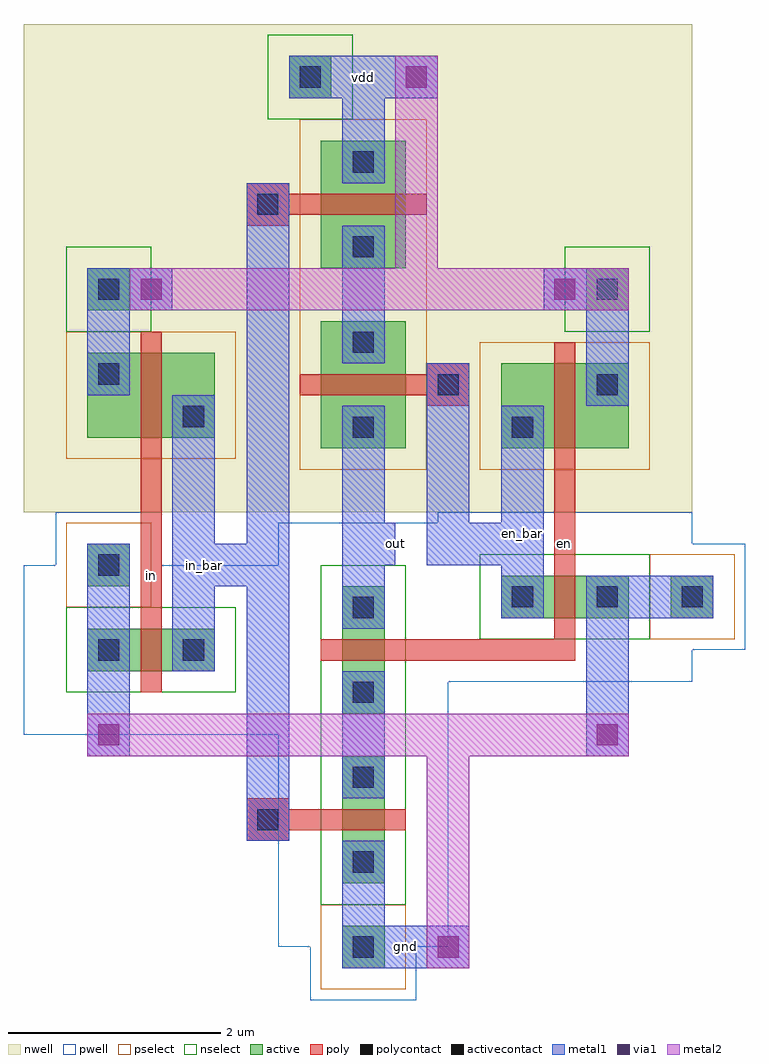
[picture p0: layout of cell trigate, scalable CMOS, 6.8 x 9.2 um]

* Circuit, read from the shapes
.subckt trigate en en_bar gnd in in_bar out vdd
M1 in_bar in gnd gnd nfet w=0.4u l=0.2u
M2 n1 in_bar gnd gnd nfet w=0.4u l=0.2u
M3 out en n1 gnd nfet w=0.4u l=0.2u
M4 gnd en en_bar gnd nfet w=0.4u l=0.2u
M5 in_bar in vdd vdd pfet w=0.8u l=0.2u
M6 n2 en_bar out vdd pfet w=0.8u l=0.2u
M7 vdd in_bar n2 vdd pfet w=0.8u l=0.2u
M8 vdd en en_bar vdd pfet w=0.8u l=0.2u
.ends

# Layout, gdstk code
import gdstk
lib = gdstk.Library(unit=1e-6, precision=1e-09)
def R(c, l, rs):  # rectangles x0, y0, x1, y1
    for r in rs: c.add(gdstk.rectangle(r[:2], r[2:], *l))
def A(c, l, x, y, w, h, nx, ny, dx, dy):  # array of equal rectangles
    R(c, l, [(x+i*dx, y+j*dy, x+i*dx+w, y+j*dy+h) for i in range(nx) for j in range(ny)])
pwell = (41, 0)
nwell = (42, 0)
active = (43, 0)
pselect = (44, 0)
nselect = (45, 0)
poly = (46, 0)
polycontact = (47, 0)
activecontact = (48, 0)
metal1 = (49, 0)
via1 = (50, 0)
metal2 = (51, 0)

trigate = lib.new_cell('trigate')
R(trigate, pwell, [(2.8,-7,3.8,-6.5), (2.5,-6.5,4.1,-4.5), (0.1,-4.5,4.1,-4), (0.1,-4,6.4,-3.7), (0.1,-3.7,6.9,-2.9), (0.4,-2.9,1.4,-2.4), (2.5,-2.9,6.9,-2.7), (2.5,-2.7,6.4,-2.5), (4,-2.5,6.4,-2.4)])
R(trigate, nwell, [(0.1,-2.4,6.4,2.2)])
R(trigate, active, [(3.1,-6.7,3.5,-6.3), (3.1,-5.9,3.5,-4.7), (3.1,-4.3,3.5,-3.1), (0.7,-3.9,1.9,-3.5), (4.6,-3.4,5.8,-3), (6.2,-3.4,6.6,-3), (0.7,-3.1,1.1,-2.7), (2.9,-1.8,3.7,-0.6), (4.6,-1.8,5.8,-1), (0.7,-1.7,1.9,-0.9), (0.7,-0.5,1.1,-0.1), (5.4,-0.5,5.8,-0.1), (2.9,-0.1,3.7,1.1), (2.6,1.5,3,1.9)])
R(trigate, pselect, [(2.9,-6.9,3.7,-6.1), (6,-3.6,6.8,-2.8), (0.5,-3.3,1.3,-2.5), (2.7,-2,3.9,1.3), (4.4,-2,6,-0.8), (0.5,-1.9,2.1,-0.7)])
R(trigate, nselect, [(2.9,-6.1,3.7,-2.9), (0.5,-4.1,2.1,-3.3), (4.4,-3.6,6,-2.8), (0.5,-0.7,1.3,0.1), (5.2,-0.7,6,0.1), (2.4,1.3,3.2,2.1)])
R(trigate, poly, [(2.2,-5.5,2.6,-5.4), (2.2,-5.4,3.7,-5.2), (2.2,-5.2,2.6,-5.1), (1.2,-4.1,1.4,-0.7), (2.9,-3.8,5.3,-3.6), (5.1,-3.6,5.3,-0.8), (3.9,-1.4,4.3,-1.3), (2.7,-1.3,4.3,-1.1), (3.9,-1.1,4.3,-1), (2.2,0.3,2.6,0.4), (2.2,0.4,3.9,0.6), (2.2,0.6,2.6,0.7)])
R(trigate, polycontact, [(2.3,-5.4,2.5,-5.2), (4,-1.3,4.2,-1.1), (2.3,0.4,2.5,0.6)])
A(trigate, activecontact, 3.2, -6.6, 0.2, 0.2, 1, 5, 0, 0.8)
A(trigate, activecontact, 4.7, -3.3, 0.2, 0.2, 3, 1, 0.8, 0)
R(trigate, activecontact, [(0.8,-3.8,1,-3.6), (1.6,-3.8,1.8,-3.6), (0.8,-3,1,-2.8), (3.2,-1.7,3.4,-1.5), (4.7,-1.7,4.9,-1.5), (1.6,-1.6,1.8,-1.4), (5.5,-1.3,5.7,-1.1), (0.8,-1.2,1,-1), (3.2,-0.9,3.4,-0.7), (0.8,-0.4,1,-0.2), (5.5,-0.4,5.7,-0.2), (3.2,0,3.4,0.2), (3.2,0.8,3.4,1), (2.7,1.6,2.9,1.8)])
R(trigate, metal1, [(3.1,-6.7,4.3,-6.3), (3.1,-6.3,3.5,-5.5), (2.2,-5.5,2.6,-3.1), (3.1,-5.1,3.5,-3.9), (0.7,-4.7,1.1,-2.7), (5.4,-4.7,5.8,-3.4), (1.5,-3.9,1.9,-3.1), (3.1,-3.5,3.5,-2.9), (4.6,-3.4,5,-2.9), (5.4,-3.4,6.6,-3), (1.5,-3.1,2.6,-2.7), (3.1,-2.9,3.6,-2.5), (3.9,-2.9,5,-2.5), (1.5,-2.7,1.9,-1.3), (2.2,-2.7,2.6,0.7), (3.1,-2.5,3.5,-1.4), (3.9,-2.5,4.3,-1), (4.6,-2.5,5,-1.4), (5.4,-1.4,5.8,-0.5), (0.7,-1.3,1.1,-0.5), (3.1,-1,3.5,0.3), (0.7,-0.5,1.5,-0.1), (5,-0.5,5.8,-0.1), (3.1,0.7,3.5,1.5), (2.6,1.5,4,1.9)])
R(trigate, via1, [(4,-6.6,4.2,-6.4), (0.8,-4.6,1,-4.4), (5.5,-4.6,5.7,-4.4), (1.2,-0.4,1.4,-0.2), (5.1,-0.4,5.3,-0.2), (3.7,1.6,3.9,1.8)])
R(trigate, metal2, [(3.9,-6.7,4.3,-4.7), (0.7,-4.7,5.8,-4.3), (1.1,-0.5,5.8,-0.1), (3.6,-0.1,4,1.9)])
trigate.add(gdstk.Label('out', (3.6,-2.7), layer=49, texttype=0))
trigate.add(gdstk.Label('vdd', (3.3,1.7), layer=49, texttype=0))
trigate.add(gdstk.Label('in', (1.3,-3), layer=46, texttype=0))
trigate.add(gdstk.Label('in_bar', (1.8,-2.9), layer=49, texttype=0))
trigate.add(gdstk.Label('gnd', (3.7,-6.5), layer=49, texttype=0))
trigate.add(gdstk.Label('en_bar', (4.8,-2.6), layer=49, texttype=0))
trigate.add(gdstk.Label('en', (5.2,-2.7), layer=46, texttype=0))

lib.write_gds('trigate.gds')
